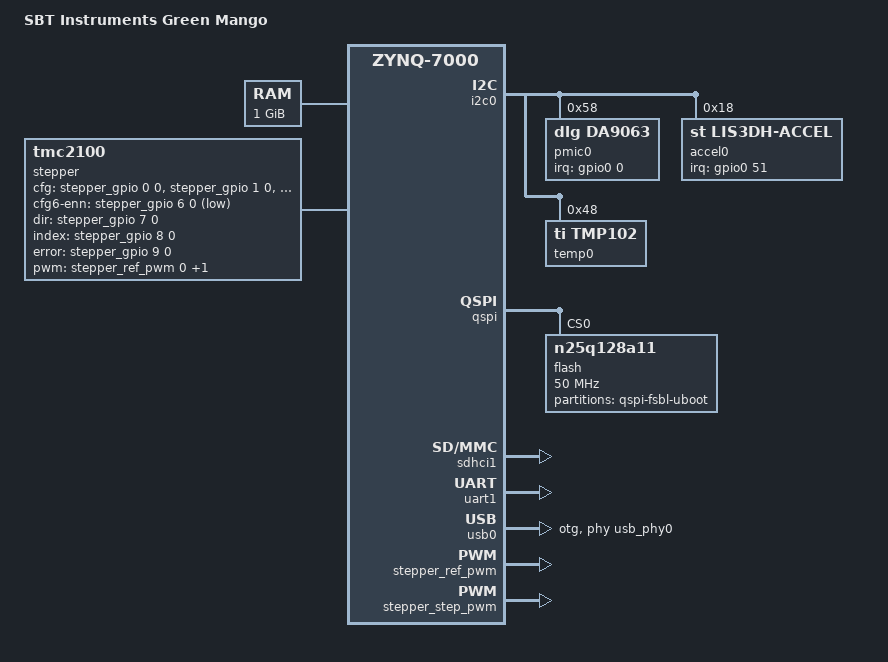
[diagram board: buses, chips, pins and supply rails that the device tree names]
/* SPDX-License-Identifier: GPL-2.0-or-later */
/*
 *  Copyright (C) 2019 Frederik Peter Aalund <fpa@sbtinstruments.com>
 *
 *  Based on zynq-zed.dts which is:
 *  Copyright (C) 2011 - 2015 Xilinx
 *  Copyright (C) 2012 National Instruments Corp.
 */
/dts-v1/;
#include <dt-bindings/gpio/gpio.h>
#include <dt-bindings/interrupt-controller/irq.h>
#include "zynq-7000.dtsi"

/ {
	model = "SBT Instruments Green Mango";
	compatible = "sbt,zynq-green-mango", "xlnx,zynq-7000";

	aliases {
		i2c0 = &i2c0;
		serial0 = &uart1;
		spi0 = &qspi;
		mmc0 = &sdhci1;
	};

	memory@0 {
		device_type = "memory";
		reg = <0x0 0x40000000>;
	};

	chosen {
		bootargs = "";
		stdout-path = "serial0:115200n8";
	};

	usb_phy0: phy0@e0002000 {
		compatible = "ulpi-phy";
		#phy-cells = <0>;
		reg = <0xe0002000 0x1000>;
		view-port = <0x0170>;
		drv-vbus;
	};
};

&clkc {
	ps-clk-frequency = <33333333>;
};

&i2c0 {
	pmic0: da9063@58 {
		compatible = "dlg,da9063";
		reg = <0x58>;
		interrupt-parent = <&gpio0>;
		interrupts = <0 IRQ_TYPE_LEVEL_LOW>;
		interrupt-controller;
		wakeup-source;
		onkey {
			compatible = "dlg,da9063-onkey";
		};
		rtc {
			compatible = "dlg,da9063-rtc";
		};
		wdt {
			compatible = "dlg,da9063-watchdog";
		};
	};
	accel0: lis3dh@18 {
		compatible = "st,lis3dh-accel";
		reg = <0x18>;
		st,drdy-int-pin = <1>;
		interrupt-parent = <&gpio0>;
		interrupts = <51 IRQ_TYPE_EDGE_RISING>;
	};
	temp0: tmp102@48 {
		compatible = "ti,tmp102";
		reg = <0x48>;
	};
};

&qspi {
	u-boot,dm-pre-reloc;
	status = "okay";
	is-dual = <0>;
	num-cs = <1>;
	flash@0 {
		compatible = "n25q128a11", "jedec,spi-nor";
		reg = <0x0>;
		spi-tx-bus-width = <1>;
		spi-rx-bus-width = <4>;
		spi-max-frequency = <50000000>;
		#address-cells = <1>;
		#size-cells = <1>;
		partition@qspi-fsbl-uboot {
			label = "qspi-fsbl-uboot";
			reg = <0x0 0x100000>;
		};
	};
};

&sdhci1 {
	u-boot,dm-pre-reloc;
	status = "okay";
};

&uart1 {
	u-boot,dm-pre-reloc;
	status = "okay";
};

&usb0 {
	status = "okay";
	dr_mode = "otg";
	usb-phy = <&usb_phy0>;
};

&gpio0 {
	emio-gpio-width = <8>;
	gpio-mask-high = <0x0>;
	gpio-mask-low = <0x5600>;
};

&i2c0 {
	status = "okay";
};

&amba {
	stepper_gpio: gpio@41200000 {
		#gpio-cells = <3>;
		clock-names = "s_axi_aclk";
		clocks = <&clkc 15>;
		compatible = "xlnx,axi-gpio-2.0", "xlnx,xps-gpio-1.00.a";
		gpio-controller ;
		reg = <0x41200000 0x10000>;
		xlnx,all-inputs = <0x0>;
		xlnx,all-inputs-2 = <0x0>;
		xlnx,all-outputs = <0x0>;
		xlnx,all-outputs-2 = <0x0>;
		xlnx,dout-default = <0x00000000>;
		xlnx,dout-default-2 = <0x00000000>;
		xlnx,gpio-width = <0xb>;
		xlnx,gpio2-width = <0x20>;
		xlnx,interrupt-present = <0x0>;
		xlnx,is-dual = <0x0>;
		xlnx,tri-default = <0xFFFFFFFF>;
		xlnx,tri-default-2 = <0xFFFFFFFF>;
	};
	stepper_ref_pwm: timer@42820000 {
		#pwm-cells = <2>;
		clock-frequency = <100000000>;
		clock-names = "s_axi_aclk";
		clocks = <&clkc 15>;
		compatible = "xlnx,pwm-xlnx";
		reg = <0x42820000 0x10000>;
		xlnx,count-width = <0x20>;
		xlnx,gen0-assert = <0x1>;
		xlnx,gen1-assert = <0x1>;
		xlnx,one-timer-only = <0x0>;
		xlnx,trig0-assert = <0x1>;
		xlnx,trig1-assert = <0x1>;
	};
	stepper_step_pwm: timer@42830000 {
		#pwm-cells = <2>;
		clock-frequency = <100000000>;
		clock-names = "s_axi_aclk";
		clocks = <&clkc 15>;
		compatible = "xlnx,pwm-xlnx";
		reg = <0x42830000 0x10000>;
		xlnx,count-width = <0x20>;
		xlnx,gen0-assert = <0x1>;
		xlnx,gen1-assert = <0x1>;
		xlnx,one-timer-only = <0x0>;
		xlnx,trig0-assert = <0x1>;
		xlnx,trig1-assert = <0x1>;
	};

	stepper {
		compatible = "tmc2100";
		cfg-gpios = <&stepper_gpio 0 0 GPIO_ACTIVE_HIGH>,
		            <&stepper_gpio 1 0 GPIO_ACTIVE_HIGH>,
		            <&stepper_gpio 2 0 GPIO_ACTIVE_HIGH>,
		            <&stepper_gpio 3 0 GPIO_ACTIVE_HIGH>,
		            <&stepper_gpio 4 0 GPIO_ACTIVE_HIGH>,
		            <&stepper_gpio 5 0 GPIO_ACTIVE_HIGH>;
		cfg6-enn-gpios = <&stepper_gpio 6 0 GPIO_ACTIVE_LOW>;
		dir-gpios = <&stepper_gpio 7 0 GPIO_ACTIVE_HIGH>;
		index-gpios = <&stepper_gpio 8 0 GPIO_ACTIVE_HIGH>;
		error-gpios = <&stepper_gpio 9 0 GPIO_ACTIVE_HIGH>;
		pwms = <&stepper_ref_pwm 0 10000>, // 100 KHz
		       <&stepper_step_pwm 0 0>;
		pwm-names = "ref", "step";
	};

	/*
	lockamp: lockamp@40600000 {
		compatible = "sbt,lockamp";
		reg = <0x40600000 0x14>,
		      <0x4060001C 0x20>,
		      <0x40600800 0x800>;
		reg-names = "lockamp-control1",
		            "lockamp-control2",
		            "lockamp-fir";
	};
	*/

	/*
	gpio-keys {
		compatible = "gpio-keys";
		#address-cells = <1>;
		#size-cells = <0>;
		autorepeat;
		sw14 {
			label = "sw14";
			gpios = <&axi_gpio_pl33 23 0 0>;
			linux,code = <108>; // down
			autorepeat;
		};
	};
	*/
};
